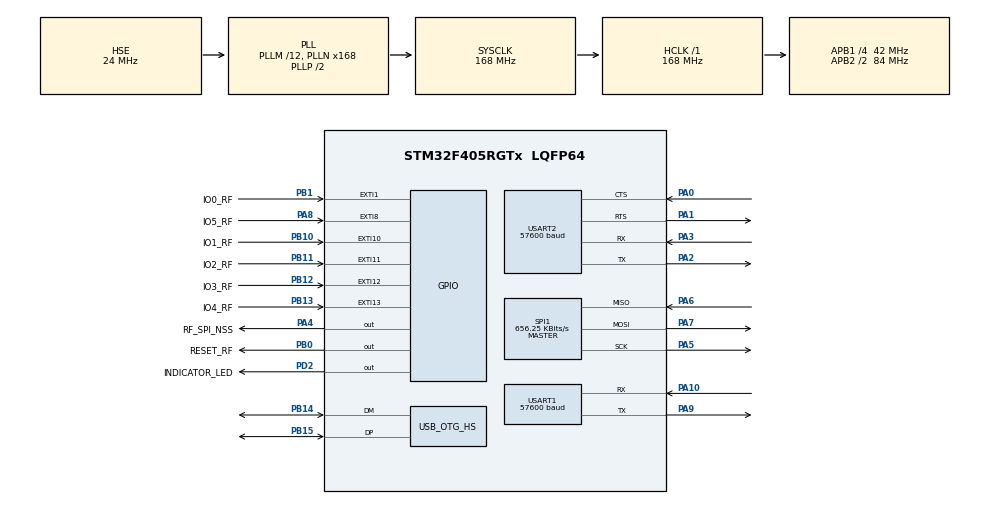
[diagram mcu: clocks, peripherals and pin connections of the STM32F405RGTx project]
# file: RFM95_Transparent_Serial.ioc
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Dma.Request0=USART1_RX
Dma.USART1_RX.0.Direction=DMA_PERIPH_TO_MEMORY
Dma.USART1_RX.0.FIFOMode=DMA_FIFOMODE_ENABLE
Dma.USART1_RX.0.FIFOThreshold=DMA_FIFO_THRESHOLD_HALFFULL
Dma.USART1_RX.0.Instance=DMA2_Stream2
Dma.USART1_RX.0.MemBurst=DMA_MBURST_SINGLE
Dma.USART1_RX.0.MemDataAlignment=DMA_MDATAALIGN_BYTE
Dma.USART1_RX.0.MemInc=DMA_MINC_ENABLE
Dma.USART1_RX.0.Mode=DMA_NORMAL
Dma.USART1_RX.0.PeriphBurst=DMA_PBURST_SINGLE
Dma.USART1_RX.0.PeriphDataAlignment=DMA_PDATAALIGN_BYTE
Dma.USART1_RX.0.PeriphInc=DMA_PINC_DISABLE
Dma.USART1_RX.0.Priority=DMA_PRIORITY_LOW
Mcu.Family=STM32F4
Mcu.Name=STM32F405RGTx
Mcu.Package=LQFP64
NVIC.DMA2_Stream2_IRQn=true\:0\:0\:false\:false\:true\:false\:true\:true
NVIC.EXTI15_10_IRQn=true\:0\:0\:false\:false\:true\:true\:true\:true
NVIC.EXTI1_IRQn=true\:0\:0\:false\:false\:true\:true\:true\:true
NVIC.OTG_HS_IRQn=true\:1\:0\:true\:false\:true\:false\:true\:true
NVIC.PriorityGroup=NVIC_PRIORITYGROUP_4
NVIC.TIM2_IRQn=true\:2\:0\:true\:false\:true\:true\:true\:true
NVIC.USART2_IRQn=true\:1\:0\:true\:false\:true\:true\:true\:true
PA0-WKUP.Mode=CTS_RTS
PA0-WKUP.Signal=USART2_CTS
PA1.Mode=CTS_RTS
PA1.Signal=USART2_RTS
PA10.Mode=Asynchronous
PA10.Signal=USART1_RX
PA11.Signal=USART1_CTS
PA12.Signal=USART1_RTS
PA13.Signal=SYS_JTMS-SWDIO
PA14.Signal=SYS_JTCK-SWCLK
PA2.Mode=Asynchronous
PA2.Signal=USART2_TX
PA3.Mode=Asynchronous
PA3.Signal=USART2_RX
PA4.GPIO_Label=RF_SPI_NSS
PA4.Signal=GPIO_Output
PA5.Mode=Full_Duplex_Master
PA5.Signal=SPI1_SCK
PA6.Mode=Full_Duplex_Master
PA6.Signal=SPI1_MISO
PA7.Mode=Full_Duplex_Master
PA7.Signal=SPI1_MOSI
PA8.GPIO_Label=IO5_RF
PA8.Signal=GPXTI8
PA9.Mode=Asynchronous
PA9.Signal=USART1_TX
PB0.GPIO_Label=RESET_RF
PB0.Signal=GPIO_Output
PB1.GPIO_Label=IO0_RF
PB1.Signal=GPXTI1
PB10.GPIO_Label=IO1_RF
PB10.Signal=GPXTI10
PB11.GPIO_Label=IO2_RF
PB11.Signal=GPXTI11
PB12.GPIO_Label=IO3_RF
PB12.Signal=GPXTI12
PB13.GPIO_Label=IO4_RF
PB13.Signal=GPXTI13
PB14.Mode=Device_Only_FS
PB14.Signal=USB_OTG_HS_DM
PB15.Mode=Device_Only_FS
PB15.Signal=USB_OTG_HS_DP
PC14-OSC32_IN.Mode=LSE-External-Oscillator
PC14-OSC32_IN.Signal=RCC_OSC32_IN
PC15-OSC32_OUT.Mode=LSE-External-Oscillator
PC15-OSC32_OUT.Signal=RCC_OSC32_OUT
PD2.GPIO_Label=INDICATOR_LED
PD2.Signal=GPIO_Output
PH0-OSC_IN.Mode=HSE-External-Oscillator
PH0-OSC_IN.Signal=RCC_OSC_IN
PH1-OSC_OUT.Mode=HSE-External-Oscillator
PH1-OSC_OUT.Signal=RCC_OSC_OUT
ProjectManager.HeapSize=0x200
ProjectManager.StackSize=0x400
ProjectManager.TargetToolchain=STM32CubeIDE
RCC.48MHZClocksFreq_Value=48000000
RCC.AHBFreq_Value=168000000
RCC.APB1CLKDivider=RCC_HCLK_DIV4
RCC.APB1Freq_Value=42000000
RCC.APB1TimFreq_Value=84000000
RCC.APB2CLKDivider=RCC_HCLK_DIV2
RCC.APB2Freq_Value=84000000
RCC.APB2TimFreq_Value=168000000
RCC.CortexFreq_Value=168000000
RCC.HCLKFreq_Value=168000000
RCC.HSE_VALUE=24000000
RCC.HSI_VALUE=16000000
RCC.PLLM=12
RCC.PLLN=168
RCC.PLLQ=7
RCC.SYSCLKFreq_VALUE=168000000
RCC.SYSCLKSource=RCC_SYSCLKSOURCE_PLLCLK
RCC.VCOOutputFreq_Value=336000000
SPI1.BaudRatePrescaler=SPI_BAUDRATEPRESCALER_128
SPI1.CalculateBaudRate=656.25 KBits/s
SPI1.Direction=SPI_DIRECTION_2LINES
SPI1.Mode=SPI_MODE_MASTER
SPI1.VirtualType=VM_MASTER
TIM2.AutoReloadPreload=TIM_AUTORELOAD_PRELOAD_ENABLE
TIM2.Period=16800
TIM2.Prescaler=2500
USART1.BaudRate=57600
USART1.VirtualMode=VM_ASYNC
USART2.BaudRate=57600
USART2.VirtualMode=VM_ASYNC
USB_DEVICE.CLASS_NAME_HS=CDC
USB_DEVICE.VirtualMode-CDC_HS=Cdc
USB_DEVICE.VirtualModeHS=Cdc_HS
USB_OTG_HS.VirtualMode-Device_Only_FS=Device_Only_FS
VP_TIM2_VS_ClockSourceINT.Mode=Internal
VP_USB_DEVICE_VS_USB_DEVICE_CDC_HS.Mode=CDC_HS
board=custom

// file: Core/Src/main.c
/* USER CODE BEGIN Header */
/**
  ******************************************************************************
  * @file           : main.c
  * @brief          : Main program body
  ******************************************************************************
  * @attention
  *
  * Copyright (c) 2022 STMicroelectronics.
  * All rights reserved.
  *
  * This software is licensed under terms that can be found in the LICENSE file
  * in the root directory of this software component.
  * If no LICENSE file comes with this software, it is provided AS-IS.
  *
  ******************************************************************************
  */
/* USER CODE END Header */
#include "main.h"
#include "usb_device.h"

/* USER CODE BEGIN Includes */
#include <stdbool.h>
#include "retarget.h"
#include "LoRa.h"
/* USER CODE END Includes */

/* USER CODE BEGIN PTD */

// ************** Below is used to define if the device is a slave or master *******************
#define SLAVE_DEVICE
//#define MASTER_DEVICE
// *********************************************************************************************

/* USER CODE END PTD */

 SPI_HandleTypeDef hspi1;

TIM_HandleTypeDef htim2;

UART_HandleTypeDef huart1;
UART_HandleTypeDef huart2;
DMA_HandleTypeDef hdma_usart1_rx;

/* USER CODE BEGIN PV */
UART_HandleTypeDef* USB_UART = &huart1;
SPI_HandleTypeDef* RF_SPI = &hspi1;
TIM_HandleTypeDef* Poll_Timer = &htim2;

#define HEADER_STRING_SIZE 4
#define MAX_RF_PACKET_SIZE 256
#define MAX_SERIAL_PACKET_SIZE(MAX_RF_PACKET_SIZE) (MAX_RF_PACKET_SIZE*2)
#define PREAMBLE_SIZE(HEADER_STRING_SIZE) (HEADER_STRING_SIZE+sizeof(uint16_t))
#define MAX_DATA_SIZE(MAX_RF_PACKET_SIZE, HEADER_STRING_SIZE) (MAX_RF_PACKET_SIZE -  PREAMBLE_SIZE(HEADER_STRING_SIZE))
#define MAX_UART_DATA_SIZE 2000

// Variable to store number of available bytes to read
uint16_t RF_available_bytes = 0;
// RF RX buffer
uint8_t RF_RX_Buff[MAX_RF_PACKET_SIZE];
uint8_t RF_TX_Buff[MAX_RF_PACKET_SIZE];
//uint8_t UART_Buff[MAX_RF_PACKET_SIZE-PREAMBLE_SIZE(HEADER_STRING_SIZE)];
uint8_t UART_Buff[2*MAX_UART_DATA_SIZE];
uint16_t UART_PACKET_SIZE = sizeof(UART_Buff)/2;
uint8_t USB_Buff[MAX_RF_PACKET_SIZE-PREAMBLE_SIZE(HEADER_STRING_SIZE)];
uint8_t RF_transmit_buffer[2*MAX_RF_PACKET_SIZE];
uint16_t RF_transmit_buff_offset = 0;
bool UART_READY = false;
bool POLL_READY = true;
bool MASTER_READY = true;
uint8_t USB_rx_data_len = 0; 	// Number of bytes read by usb

// static void MX_DMA_Init(void); MUST BE INIT BEFORE static void MX_USART1_UART_Init(void);

/* USER CODE END PV */

void SystemClock_Config(void);
static void MX_GPIO_Init(void);
static void MX_DMA_Init(void);
static void MX_USART1_UART_Init(void);
static void MX_USART2_UART_Init(void);
static void MX_SPI1_Init(void);

static void MX_TIM2_Init(void);

/* USER CODE BEGIN 0 */
LoRa LoRaClass;
/* USER CODE END 0 */

int main(void)
{
  /* USER CODE BEGIN 1 */
  RetargetInit(USB_UART);
  /* USER CODE END 1 */

  /* MCU Configuration--------------------------------------------------------*/

  /* Reset of all peripherals, Initializes the Flash interface and the Systick. */
  HAL_Init();

  /* Configure the system clock */
  SystemClock_Config();

  /* USER CODE BEGIN SysInit */
  //***************************** DMA CLK MUST BE ENABLED BEFORE UART ***********************
  // This is because the UART init writes to DMA registers (when DMA is enabled)
  /* DMA controller clock enable */
  __HAL_RCC_DMA2_CLK_ENABLE();

  /* USER CODE END SysInit */

  /* Initialize all configured peripherals */
  MX_GPIO_Init();
  MX_USART1_UART_Init();
  MX_USART2_UART_Init();
  MX_SPI1_Init();
  MX_DMA_Init();
  MX_TIM2_Init();
  MX_USB_DEVICE_Init();
  /* USER CODE BEGIN 2 */

  // Polling timer init
  HAL_TIM_Base_Start_IT(Poll_Timer);
  // UART interrupt init
  HAL_UART_Receive_DMA (USB_UART, UART_Buff, sizeof(UART_Buff));

  // LoRa Class definitions
  LoRaClass = newLoRa();
  LoRaClass.hSPIx                 = RF_SPI;
  LoRaClass.CS_port               = RF_SPI_NSS_GPIO_Port;
  LoRaClass.CS_pin                = RF_SPI_NSS_Pin;
  LoRaClass.reset_port            = RESET_RF_GPIO_Port;
  LoRaClass.reset_pin             = RESET_RF_Pin;
  LoRaClass.DIO0_port			  = IO0_RF_GPIO_Port;
  LoRaClass.DIO0_pin			  = IO0_RF_Pin;

  LoRaClass.frequency             = 915;
  LoRaClass.spredingFactor        = SF_7;						// default = SF_7
  LoRaClass.bandWidth			  = BW_500KHz;				  	// default = BW_125KHz
  LoRaClass.crcRate				  = CR_4_5;						// default = CR_4_5
  LoRaClass.power			      = POWER_20db;					// default = 20db
  LoRaClass.overCurrentProtection = 120; 						// default = 100 mA
  LoRaClass.preamble			  = 10;		  					// default = 8;
  LoRaClass.syncWord			  = 0x22;

  HAL_GPIO_WritePin(RF_SPI_NSS_GPIO_Port, RF_SPI_NSS_Pin, GPIO_PIN_SET);

  LoRa_reset(&LoRaClass);
  uint32_t result = LoRa_init(&LoRaClass);

  if(result == LORA_NOT_FOUND) {
	  Blocking_LED_Blink(1);
  }
  else if(result == LORA_UNAVAILABLE) {
	  Blocking_LED_Blink(1);
  }

  // Set fixed length packets at 2047 bytes
  LoRa_setPacketMode(&LoRaClass, 0);

  // START CONTINUOUS RECEIVING -----------------------------------
  LoRa_startReceiving(&LoRaClass);

  /* USER CODE END 2 */

  /* Infinite loop */
  while (1)
  {

    /* USER CODE BEGIN 3 */

	  if(RF_available_bytes) {
		  // Bytes in RF RX buffer to read
		  // Read bytes into buffer
		  LoRa_receive(&LoRaClass, RF_RX_Buff, RF_available_bytes);
		  // Buffer to contain data to be transmitted over UART and USB
		  uint8_t serialBuff[MAX_SERIAL_PACKET_SIZE(MAX_RF_PACKET_SIZE)];

		  // Check packet identifier
#ifdef MASTER_DEVICE
		  if(!memcmp(RF_RX_Buff, (uint8_t*)"SRSP", HEADER_STRING_SIZE)) {
			  HAL_GPIO_WritePin(INDICATOR_LED_GPIO_Port, INDICATOR_LED_Pin, GPIO_PIN_SET);
			  // Header byte is packet type 2 (Slave response)
			  uint16_t data_len = (uint16_t)(RF_RX_Buff[HEADER_STRING_SIZE]<<8 | RF_RX_Buff[HEADER_STRING_SIZE+1]);

			  if(data_len > MAX_DATA_SIZE(MAX_RF_PACKET_SIZE, HEADER_STRING_SIZE)) {
				  RF_available_bytes = 0;
				  // Data spans over two packets
				  // Put all available bytes into serialBuff
				  memcpy(serialBuff,  &RF_RX_Buff[PREAMBLE_SIZE(HEADER_STRING_SIZE)], MAX_DATA_SIZE(MAX_RF_PACKET_SIZE, HEADER_STRING_SIZE));
				  memset(RF_RX_Buff, '\0', sizeof(RF_RX_Buff));
				  // Wait for next packet
				  while(memcmp(RF_RX_Buff, (uint8_t*)"SRSP", HEADER_STRING_SIZE) != 0) {
					  LoRa_receive(&LoRaClass, RF_RX_Buff, data_len - MAX_RF_PACKET_SIZE);
				  }
				  data_len = (uint16_t)(RF_RX_Buff[HEADER_STRING_SIZE]<<8 | RF_RX_Buff[HEADER_STRING_SIZE+1]);
				  // Add new data to end of previous packet
				  memcpy(&serialBuff[MAX_DATA_SIZE(MAX_RF_PACKET_SIZE, HEADER_STRING_SIZE)], &RF_RX_Buff[PREAMBLE_SIZE(HEADER_STRING_SIZE)], data_len);
				  // Transmit concatenated buffer over USB and UART
				  CDC_Transmit_HS(serialBuff, MAX_DATA_SIZE(MAX_RF_PACKET_SIZE, HEADER_STRING_SIZE) + data_len);
				  HAL_UART_Transmit(USB_UART, serialBuff, MAX_DATA_SIZE(MAX_RF_PACKET_SIZE, HEADER_STRING_SIZE) + data_len, 1000);
				  RF_available_bytes = 0;
			  }
			  else {
				  // Data is all contained within one packet
				  // Transmit bytes from RF_RX_Buff over UART not including packet identifier or data length field
				  HAL_UART_Transmit(USB_UART, &RF_RX_Buff[PREAMBLE_SIZE(HEADER_STRING_SIZE)], RF_available_bytes-PREAMBLE_SIZE(HEADER_STRING_SIZE), 1000);
				  // Transmit bytes from RF_RX Buff over USB not including packet identifier
				  CDC_Transmit_HS(&RF_RX_Buff[PREAMBLE_SIZE(HEADER_STRING_SIZE)], RF_available_bytes-PREAMBLE_SIZE(HEADER_STRING_SIZE));
				  RF_available_bytes = 0;
			  }
			  HAL_GPIO_WritePin(INDICATOR_LED_GPIO_Port, INDICATOR_LED_Pin, GPIO_PIN_RESET);
		  }

#elif defined SLAVE_DEVICE
		  if(!memcmp(RF_RX_Buff, (uint8_t*)"MREQ", HEADER_STRING_SIZE)) {
			  HAL_GPIO_WritePin(INDICATOR_LED_GPIO_Port, INDICATOR_LED_Pin, GPIO_PIN_SET);
			  MASTER_READY = true;
			  // Header byte is packet type 1 (Master request)
			  uint16_t data_len = (uint16_t)(RF_RX_Buff[HEADER_STRING_SIZE]<<8 | RF_RX_Buff[HEADER_STRING_SIZE+1]);
			  if(data_len > MAX_DATA_SIZE(MAX_RF_PACKET_SIZE, HEADER_STRING_SIZE)) {
				  RF_available_bytes = 0;
				  // Data spans over two packets
				  // Put all available bytes into serialBuff
				  memcpy(serialBuff,  &RF_RX_Buff[PREAMBLE_SIZE(HEADER_STRING_SIZE)], MAX_DATA_SIZE(MAX_RF_PACKET_SIZE, HEADER_STRING_SIZE));
				  memset(RF_RX_Buff, '\0', sizeof(RF_RX_Buff));
				  // Wait for next packet
				  while(memcmp(RF_RX_Buff, (uint8_t*)"SRSP", HEADER_STRING_SIZE) != 0) {
					  LoRa_receive(&LoRaClass, RF_RX_Buff, data_len - MAX_RF_PACKET_SIZE);
				  }
				  data_len = (uint16_t)(RF_RX_Buff[HEADER_STRING_SIZE]<<8 | RF_RX_Buff[HEADER_STRING_SIZE+1]);
				  // Add new data to end of previous packet
				  memcpy(&serialBuff[MAX_DATA_SIZE(MAX_RF_PACKET_SIZE, HEADER_STRING_SIZE)], &RF_RX_Buff[PREAMBLE_SIZE(HEADER_STRING_SIZE)], data_len);
				  // Transmit concatenated buffer over USB and UART
				  CDC_Transmit_HS(serialBuff, MAX_DATA_SIZE(MAX_RF_PACKET_SIZE, HEADER_STRING_SIZE) + data_len);
				  HAL_UART_Transmit(USB_UART, serialBuff, MAX_DATA_SIZE(MAX_RF_PACKET_SIZE, HEADER_STRING_SIZE) + data_len, 1000);
				  RF_available_bytes = 0;
			  }
			  else if (data_len > 0) {
				  // Data is all contained within one packet
				  // Transmit bytes from RF_RX_Buff over UART not including packet identifier or data length field
				  HAL_UART_Transmit(USB_UART, &RF_RX_Buff[PREAMBLE_SIZE(HEADER_STRING_SIZE)], RF_available_bytes-PREAMBLE_SIZE(HEADER_STRING_SIZE), 1000);
				  // Transmit bytes from RF_RX Buff over USB not including packet identifier
				  CDC_Transmit_HS(&RF_RX_Buff[PREAMBLE_SIZE(HEADER_STRING_SIZE)], RF_available_bytes-PREAMBLE_SIZE(HEADER_STRING_SIZE));
				  RF_available_bytes = 0;
			  }
			  HAL_GPIO_WritePin(INDICATOR_LED_GPIO_Port, INDICATOR_LED_Pin, GPIO_PIN_RESET);
		  }
		  else RF_available_bytes = 0;
#endif
	  }

#ifdef MASTER_DEVICE
	  if (POLL_READY) {
		  if(UART_READY) {
			  UART_READY = false;
			  uint8_t sendBuff[MAX_RF_PACKET_SIZE];
			  // Add packet identifier
			  memcpy(&sendBuff, (uint8_t*)"MREQ", sizeof("MREQ"));
			  // Add data length field
			  memcpy(&sendBuff[sizeof("MREQ")], &UART_PACKET_SIZE, sizeof(uint16_t));
			  // Add data to sendBuff
			  memcpy(&sendBuff[PREAMBLE_SIZE(HEADER_STRING_SIZE)], &RF_transmit_buffer, UART_PACKET_SIZE);
			  // Transmit USB buffer over RF
			  for(int i=0; i<10; i++) {
				  LoRa_transmit(&LoRaClass, &sendBuff[i*200], 200, 1000);
			  }
//			  if (!LoRa_transmit(&LoRaClass, sendBuff, UART_PACKET_SIZE+PREAMBLE_SIZE(HEADER_STRING_SIZE), 1000)) {
//						  // Print error msg
//			  }
			  RF_transmit_buff_offset = 0;
			  LoRa_startReceiving(&LoRaClass);
		  }
//		  else if(!UART_READY && !USB_rx_data_len) {
//			  uint8_t sendBuff[MAX_RF_PACKET_SIZE];
//			  // Send empty data packet
//			  // Add packet identifier
//			  memcpy(&sendBuff, (uint8_t*)"MREQ\0\0", sizeof("MREQ\0\0"));
//			  if (!LoRa_transmit(&LoRaClass, sendBuff, PREAMBLE_SIZE(HEADER_STRING_SIZE), 1000)) {
//				  // Print error msg
//			  }
//		  }
	  }
	  POLL_READY = true;

#elif defined SLAVE_DEVICE
	  if(MASTER_READY) {
		  MASTER_READY = true;
		  if(UART_READY) {
			  UART_READY = false;
			  HAL_GPIO_WritePin(INDICATOR_LED_GPIO_Port, INDICATOR_LED_Pin, GPIO_PIN_SET);
			  uint8_t sendBuff[MAX_RF_PACKET_SIZE];
			  // Add packet identifier
			  memcpy(&sendBuff, (uint8_t*)"SRSP", sizeof("SRSP"));
			  // Add data length field
			  memcpy(&sendBuff[sizeof("SRSP")], &UART_PACKET_SIZE, sizeof(uint16_t));
			  // Add data to sendBuff
			  memcpy(&sendBuff[PREAMBLE_SIZE(HEADER_STRING_SIZE)], &RF_transmit_buffer, UART_PACKET_SIZE);
			  // Transmit USB buffer over RF
			  if (!LoRa_transmit(&LoRaClass, sendBuff, UART_PACKET_SIZE+PREAMBLE_SIZE(HEADER_STRING_SIZE), 1000)) {
						  // Print error msg
			  }
			  RF_transmit_buff_offset = 0;
			  LoRa_startReceiving(&LoRaClass);
			  HAL_GPIO_WritePin(INDICATOR_LED_GPIO_Port, INDICATOR_LED_Pin, GPIO_PIN_RESET);

//			  if (USB_UART->RxState) // Overrun Error
//				USART_RS232->ICR = USART_ICR_ORECF;
//
//			if (USART_RS232->ISR & USART_ISR_NE) // Noise Error
//				USART_RS232->ICR = USART_ICR_NCF;
//
//			if (USART_RS232->ISR & USART_ISR_FE) // Framing Error
//				USART_RS232->ICR = USART_ICR_FECF;
		  }
	  }
#endif
  }
  /* USER CODE END 3 */
}

void SystemClock_Config(void)
{
  RCC_OscInitTypeDef RCC_OscInitStruct = {0};
  RCC_ClkInitTypeDef RCC_ClkInitStruct = {0};

  /** Configure the main internal regulator output voltage
  */
  __HAL_RCC_PWR_CLK_ENABLE();
  __HAL_PWR_VOLTAGESCALING_CONFIG(PWR_REGULATOR_VOLTAGE_SCALE1);

  /** Initializes the RCC Oscillators according to the specified parameters
  * in the RCC_OscInitTypeDef structure.
  */
  RCC_OscInitStruct.OscillatorType = RCC_OSCILLATORTYPE_HSE;
  RCC_OscInitStruct.HSEState = RCC_HSE_ON;
  RCC_OscInitStruct.PLL.PLLState = RCC_PLL_ON;
  RCC_OscInitStruct.PLL.PLLSource = RCC_PLLSOURCE_HSE;
  RCC_OscInitStruct.PLL.PLLM = 12;
  RCC_OscInitStruct.PLL.PLLN = 168;
  RCC_OscInitStruct.PLL.PLLP = RCC_PLLP_DIV2;
  RCC_OscInitStruct.PLL.PLLQ = 7;
  if (HAL_RCC_OscConfig(&RCC_OscInitStruct) != HAL_OK)
  {
    Error_Handler();
  }

  /** Initializes the CPU, AHB and APB buses clocks
  */
  RCC_ClkInitStruct.ClockType = RCC_CLOCKTYPE_HCLK|RCC_CLOCKTYPE_SYSCLK
                              |RCC_CLOCKTYPE_PCLK1|RCC_CLOCKTYPE_PCLK2;
  RCC_ClkInitStruct.SYSCLKSource = RCC_SYSCLKSOURCE_PLLCLK;
  RCC_ClkInitStruct.AHBCLKDivider = RCC_SYSCLK_DIV1;
  RCC_ClkInitStruct.APB1CLKDivider = RCC_HCLK_DIV4;
  RCC_ClkInitStruct.APB2CLKDivider = RCC_HCLK_DIV2;

  if (HAL_RCC_ClockConfig(&RCC_ClkInitStruct, FLASH_LATENCY_5) != HAL_OK)
  {
    Error_Handler();
  }
}

static void MX_SPI1_Init(void)
{

  /* SPI1 parameter configuration*/
  hspi1.Instance = SPI1;
  hspi1.Init.Mode = SPI_MODE_MASTER;
  hspi1.Init.Direction = SPI_DIRECTION_2LINES;
  hspi1.Init.DataSize = SPI_DATASIZE_8BIT;
  hspi1.Init.CLKPolarity = SPI_POLARITY_LOW;
  hspi1.Init.CLKPhase = SPI_PHASE_1EDGE;
  hspi1.Init.NSS = SPI_NSS_SOFT;
  hspi1.Init.BaudRatePrescaler = SPI_BAUDRATEPRESCALER_128;
  hspi1.Init.FirstBit = SPI_FIRSTBIT_MSB;
  hspi1.Init.TIMode = SPI_TIMODE_DISABLE;
  hspi1.Init.CRCCalculation = SPI_CRCCALCULATION_DISABLE;
  hspi1.Init.CRCPolynomial = 10;
  if (HAL_SPI_Init(&hspi1) != HAL_OK)
  {
    Error_Handler();
  }

}

static void MX_TIM2_Init(void)
{

  TIM_ClockConfigTypeDef sClockSourceConfig = {0};
  TIM_MasterConfigTypeDef sMasterConfig = {0};

  htim2.Instance = TIM2;
  htim2.Init.Prescaler = 2500;
  htim2.Init.CounterMode = TIM_COUNTERMODE_UP;
  htim2.Init.Period = 16800;
  htim2.Init.ClockDivision = TIM_CLOCKDIVISION_DIV1;
  htim2.Init.AutoReloadPreload = TIM_AUTORELOAD_PRELOAD_ENABLE;
  if (HAL_TIM_Base_Init(&htim2) != HAL_OK)
  {
    Error_Handler();
  }
  sClockSourceConfig.ClockSource = TIM_CLOCKSOURCE_INTERNAL;
  if (HAL_TIM_ConfigClockSource(&htim2, &sClockSourceConfig) != HAL_OK)
  {
    Error_Handler();
  }
  sMasterConfig.MasterOutputTrigger = TIM_TRGO_RESET;
  sMasterConfig.MasterSlaveMode = TIM_MASTERSLAVEMODE_DISABLE;
  if (HAL_TIMEx_MasterConfigSynchronization(&htim2, &sMasterConfig) != HAL_OK)
  {
    Error_Handler();
  }

}

static void MX_USART1_UART_Init(void)
{

  huart1.Instance = USART1;
  huart1.Init.BaudRate = 57600;
  huart1.Init.WordLength = UART_WORDLENGTH_8B;
  huart1.Init.StopBits = UART_STOPBITS_1;
  huart1.Init.Parity = UART_PARITY_NONE;
  huart1.Init.Mode = UART_MODE_TX_RX;
  huart1.Init.HwFlowCtl = UART_HWCONTROL_NONE;
  huart1.Init.OverSampling = UART_OVERSAMPLING_16;
  if (HAL_UART_Init(&huart1) != HAL_OK)
  {
    Error_Handler();
  }

}

static void MX_USART2_UART_Init(void)
{

  huart2.Instance = USART2;
  huart2.Init.BaudRate = 57600;
  huart2.Init.WordLength = UART_WORDLENGTH_8B;
  huart2.Init.StopBits = UART_STOPBITS_1;
  huart2.Init.Parity = UART_PARITY_NONE;
  huart2.Init.Mode = UART_MODE_TX_RX;
  huart2.Init.HwFlowCtl = UART_HWCONTROL_RTS_CTS;
  huart2.Init.OverSampling = UART_OVERSAMPLING_16;
  if (HAL_UART_Init(&huart2) != HAL_OK)
  {
    Error_Handler();
  }

}

static void MX_DMA_Init(void)
{

  /* DMA controller clock enable */
  __HAL_RCC_DMA2_CLK_ENABLE();

  /* DMA interrupt init */
  /* DMA2_Stream2_IRQn interrupt configuration */
  HAL_NVIC_SetPriority(DMA2_Stream2_IRQn, 0, 0);
  HAL_NVIC_EnableIRQ(DMA2_Stream2_IRQn);

}

static void MX_GPIO_Init(void)
{
  GPIO_InitTypeDef GPIO_InitStruct = {0};

  /* GPIO Ports Clock Enable */
  __HAL_RCC_GPIOC_CLK_ENABLE();
  __HAL_RCC_GPIOH_CLK_ENABLE();
  __HAL_RCC_GPIOA_CLK_ENABLE();
  __HAL_RCC_GPIOB_CLK_ENABLE();
  __HAL_RCC_GPIOD_CLK_ENABLE();

  /*Configure GPIO pin Output Level */
  HAL_GPIO_WritePin(RF_SPI_NSS_GPIO_Port, RF_SPI_NSS_Pin, GPIO_PIN_RESET);

  /*Configure GPIO pin Output Level */
  HAL_GPIO_WritePin(RESET_RF_GPIO_Port, RESET_RF_Pin, GPIO_PIN_RESET);

  /*Configure GPIO pin Output Level */
  HAL_GPIO_WritePin(INDICATOR_LED_GPIO_Port, INDICATOR_LED_Pin, GPIO_PIN_RESET);

  /*Configure GPIO pin : RF_SPI_NSS_Pin */
  GPIO_InitStruct.Pin = RF_SPI_NSS_Pin;
  GPIO_InitStruct.Mode = GPIO_MODE_OUTPUT_PP;
  GPIO_InitStruct.Pull = GPIO_NOPULL;
  GPIO_InitStruct.Speed = GPIO_SPEED_FREQ_LOW;
  HAL_GPIO_Init(RF_SPI_NSS_GPIO_Port, &GPIO_InitStruct);

  /*Configure GPIO pin : RESET_RF_Pin */
  GPIO_InitStruct.Pin = RESET_RF_Pin;
  GPIO_InitStruct.Mode = GPIO_MODE_OUTPUT_PP;
  GPIO_InitStruct.Pull = GPIO_NOPULL;
  GPIO_InitStruct.Speed = GPIO_SPEED_FREQ_LOW;
  HAL_GPIO_Init(RESET_RF_GPIO_Port, &GPIO_InitStruct);

  /*Configure GPIO pins : IO0_RF_Pin IO1_RF_Pin IO2_RF_Pin IO3_RF_Pin
                           IO4_RF_Pin */
  GPIO_InitStruct.Pin = IO0_RF_Pin|IO1_RF_Pin|IO2_RF_Pin|IO3_RF_Pin
                          |IO4_RF_Pin;
  GPIO_InitStruct.Mode = GPIO_MODE_IT_RISING;
  GPIO_InitStruct.Pull = GPIO_NOPULL;
  HAL_GPIO_Init(GPIOB, &GPIO_InitStruct);

  /*Configure GPIO pin : IO5_RF_Pin */
  GPIO_InitStruct.Pin = IO5_RF_Pin;
  GPIO_InitStruct.Mode = GPIO_MODE_IT_RISING;
  GPIO_InitStruct.Pull = GPIO_NOPULL;
  HAL_GPIO_Init(IO5_RF_GPIO_Port, &GPIO_InitStruct);

  /*Configure GPIO pin : INDICATOR_LED_Pin */
  GPIO_InitStruct.Pin = INDICATOR_LED_Pin;
  GPIO_InitStruct.Mode = GPIO_MODE_OUTPUT_PP;
  GPIO_InitStruct.Pull = GPIO_NOPULL;
  GPIO_InitStruct.Speed = GPIO_SPEED_FREQ_LOW;
  HAL_GPIO_Init(INDICATOR_LED_GPIO_Port, &GPIO_InitStruct);

  /* EXTI interrupt init*/
  HAL_NVIC_SetPriority(EXTI1_IRQn, 0, 0);
  HAL_NVIC_EnableIRQ(EXTI1_IRQn);

  HAL_NVIC_SetPriority(EXTI15_10_IRQn, 0, 0);
  HAL_NVIC_EnableIRQ(EXTI15_10_IRQn);

}

/* USER CODE BEGIN 4 */
void HAL_GPIO_EXTI_Callback(uint16_t GPIO_Pin){
	if(GPIO_Pin == LoRaClass.DIO0_pin){
		RF_available_bytes = LoRa_received_bytes(&LoRaClass);
	}
}

void HAL_UART_RxCpltCallback(UART_HandleTypeDef *huart)
{
	HAL_UART_Receive_DMA (USB_UART, UART_Buff, sizeof(UART_Buff));
	UART_READY = true;
	// Add second half of data to sendBuff
	memcpy(RF_transmit_buffer, &UART_Buff[UART_PACKET_SIZE], UART_PACKET_SIZE);
}

void HAL_UART_RxHalfCpltCallback(UART_HandleTypeDef *huart) {
	UART_READY = true;
	// Add first half of data to sendBuff
	memcpy(RF_transmit_buffer, &UART_Buff, UART_PACKET_SIZE);
}

#ifdef MASTER_DEVICE
//void HAL_TIM_PeriodElapsedCallback(TIM_HandleTypeDef* htim)
//{
//    if(htim == Poll_Timer) {
//    	// Poll slave device
//    	POLL_READY = true;
//    }
//}
#endif

void Blocking_LED_Blink(uint8_t freq) {
	while(1) {
		HAL_GPIO_WritePin(INDICATOR_LED_GPIO_Port, INDICATOR_LED_Pin, GPIO_PIN_SET);
		HAL_Delay(1000/freq);
		HAL_GPIO_WritePin(INDICATOR_LED_GPIO_Port, INDICATOR_LED_Pin, GPIO_PIN_RESET);
		HAL_Delay(1000/freq);
	}
}

/* USER CODE END 4 */

void Error_Handler(void)
{
  __disable_irq();
  while (1)
  {
  }
}
